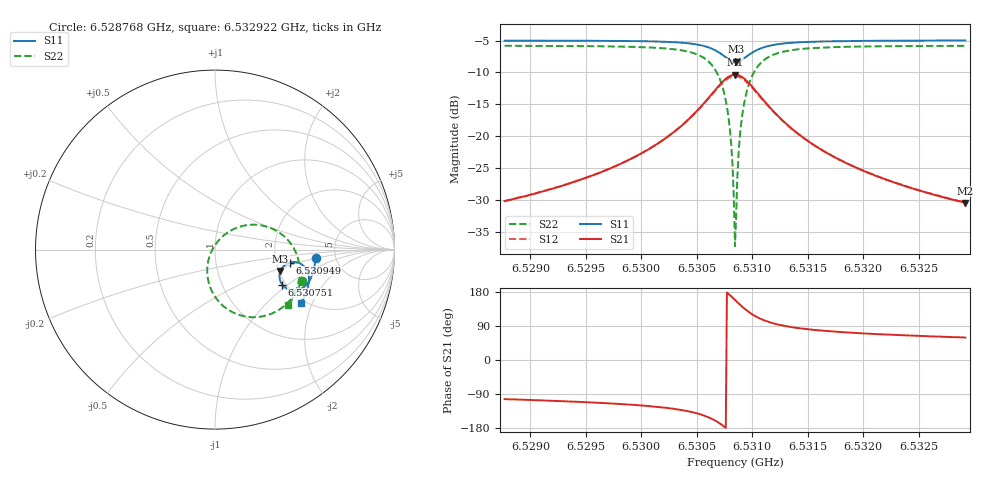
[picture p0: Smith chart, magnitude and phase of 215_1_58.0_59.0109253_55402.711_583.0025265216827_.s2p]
#  HZ  S  RI  R  50.00
! Rohde & Schwarz Vector Network Analyzer
! Rohde-Schwarz,ZNB20-2Port,1311601062101988,3.16
! Created: UTC 3/21/2024, 12:59:54 AM
! freq[Hz]  re:S11  im:S11  re:S21  im:S21  re:S12  im:S12  re:S22  im:S22
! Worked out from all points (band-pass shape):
!   401 points, 6.528768 GHz to 6.532922 GHz, reference 50 ohm
!   highest |S21| = -10.33 dB at 6.530845 GHz (marker M1); lowest = -30.5 dB at 6.532922 GHz (marker M2)
!   |S21| within 3 dB of the highest: 6.530638 GHz to 6.531053 GHz (415.3 kHz wide, 0.00636 % of centre)
!   lowest |S11| = -8.3 dB at 6.530855 GHz (marker M3), VSWR 2.25, Z = 102 - j28.4 ohm
!   |S11| at or under -10 dB: nowhere
!   |S22| runs from -37.3 to -5.8 dB; largest |S21 - S12| = 0.012
!   S11 on the Smith chart (normalised r, x): 6.528768 GHz: 3.49, -0.50; 6.530751 GHz: 1.91, -0.91; 6.530949 GHz: 2.37, -0.42; 6.532922 GHz: 1.91, -1.66
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6.5287681e9  0.5604 -0.0488  -0.00708 -0.0301  -0.00768 -0.03  0.4821 -0.1747
6.5294638e9  0.5511 -0.1069  -0.0165 -0.043  -0.0173 -0.0424  0.4505 -0.2383
6.5301595e9  0.5242 -0.1764  -0.0498 -0.0736  -0.0518 -0.0721  0.3687 -0.3271
6.5303984e9  0.4979 -0.2068  -0.0891 -0.0929  -0.0918 -0.0897  0.2881 -0.3662
6.5305749e9  0.4547 -0.2268  -0.1567 -0.0994  -0.1591 -0.093  0.163 -0.3715
6.5306787e9  0.4101 -0.2224  -0.2256 -0.0734  -0.225 -0.0637  0.0471 -0.3152
6.5307514e9  0.375 -0.1957  -0.2766 -0.0153  -0.2709 -0.00528  -0.0277 -0.208
6.5307929e9  0.3618 -0.1682  -0.2924 0.0371  -0.2836 0.0453  -0.0435 -0.1184
6.5308137e9  0.3592 -0.1519  -0.293 0.0669  -0.283 0.0735  -0.039 -0.0692
6.5308241e9  0.3593 -0.1436  -0.2911 0.0822  -0.2807 0.0878  -0.0329 -0.0449
6.5308345e9  0.3602 -0.135  -0.2876 0.0972  -0.277 0.1018  -0.0245 -0.0208
6.5308449e9  0.3622 -0.1267  -0.2829 0.112  -0.2719 0.1156  -0.0135 0.00219
6.5308552e9  0.3649 -0.1187  -0.2764 0.1259  -0.2656 0.1287  -0.000415 0.024
6.5308656e9  0.3685 -0.1109  -0.2688 0.1393  -0.258 0.1413  0.0146 0.0444
6.5308864e9  0.3778 -0.0971  -0.25 0.1633  -0.2398 0.1635  0.0499 0.0799
6.5308968e9  0.3835 -0.0912  -0.2393 0.1735  -0.2294 0.1727  0.0694 0.0945
6.5309487e9  0.4161 -0.0724  -0.1795 0.2055  -0.1725 0.2024  0.1738 0.1358
6.5310214e9  0.4588 -0.0718  -0.1047 0.2078  -0.101 0.2046  0.2994 0.1245
6.5311252e9  0.4962 -0.0935  -0.0403 0.177  -0.0385 0.1755  0.403 0.0567
6.5315406e9  0.5237 -0.1728  0.0153 0.0857  0.0164 0.0853  0.4726 -0.1346
6.5322363e9  0.5058 -0.2444  0.0175 0.0411  0.0183 0.0408  0.443 -0.2502
6.5329216e9  0.4803 -0.2962  0.0154 0.0257  0.0159 0.0255  0.4078 -0.31
